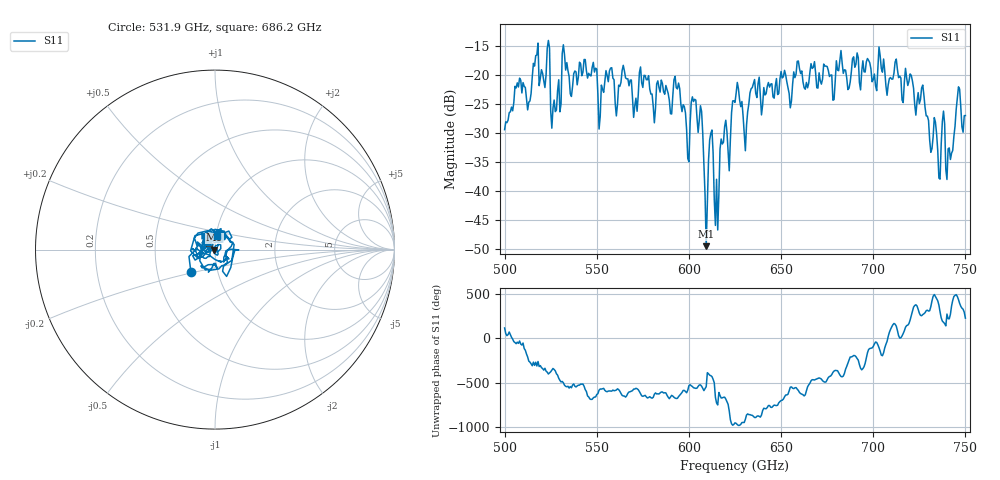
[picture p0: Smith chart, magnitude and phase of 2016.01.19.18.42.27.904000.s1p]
!Created with skrf (http://scikit-rf.org).
# GHz S RI R 50.0
!freq ReS11 ImS11
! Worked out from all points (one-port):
!   401 points, 500 GHz to 750 GHz, reference 50 ohm
!   lowest |S11| = -49.5 dB at 609.4 GHz (marker M1), VSWR 1.01, Z = 49.7 + j0.0089 ohm
!   |S11| at or under -10 dB: start of sweep to end of sweep
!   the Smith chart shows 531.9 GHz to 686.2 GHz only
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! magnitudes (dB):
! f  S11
! 500 GHz  -29.4
! 507.5 GHz  -22.0
! 513.1 GHz  -24.7
! 516.9 GHz  -16.6
! 523.1 GHz  -15.4
! 526.2 GHz  -25.7
! 531.2 GHz  -16.3
! 562.5 GHz  -21.9
! 593.8 GHz  -22.4
! 599.4 GHz  -34.4
! 602.5 GHz  -24.5
! 606.2 GHz  -25.3
! 609.4 GHz  -49.5
! 611.9 GHz  -30.0
! 615 GHz  -37.9
! 618.1 GHz  -31.9
! 621.9 GHz  -36.5
! 625 GHz  -24.7
! 630.6 GHz  -33.0
! 634.4 GHz  -22.1
! 656.2 GHz  -21.6
! 687.5 GHz  -21.2
! 718.8 GHz  -21.8
! 735.6 GHz  -37.7
! 738.1 GHz  -26.2
! 741.2 GHz  -32.5
! 746.2 GHz  -22.0
! 750 GHz  -27.0
